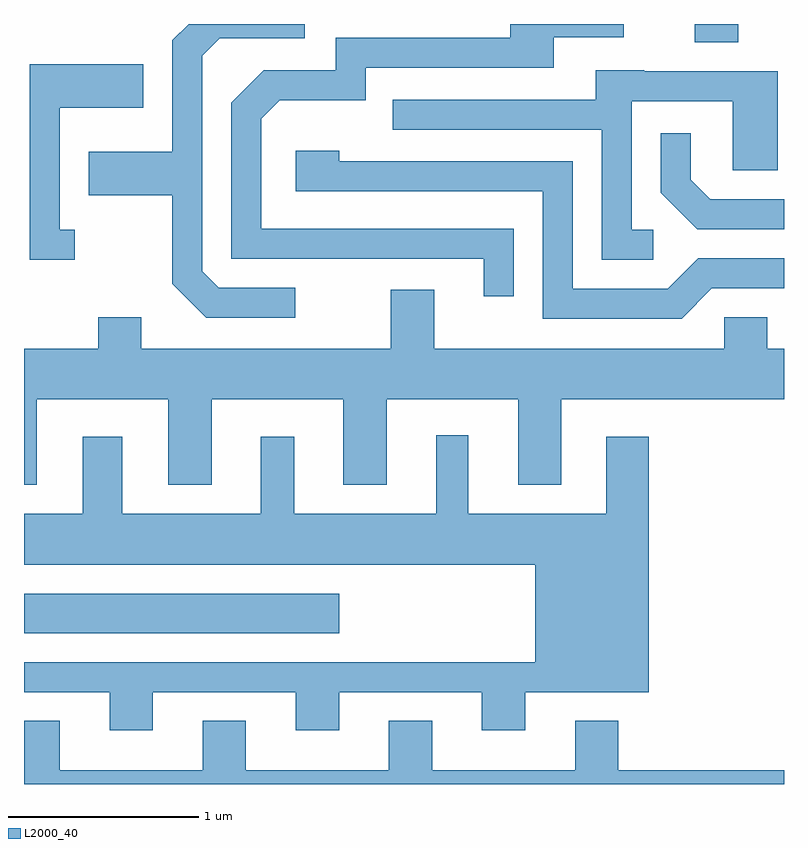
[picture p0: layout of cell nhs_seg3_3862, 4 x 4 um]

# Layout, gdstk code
import gdstk
lib = gdstk.Library(unit=1e-6, precision=1e-09)
def R(c, l, rs):  # rectangles x0, y0, x1, y1
    for r in rs: c.add(gdstk.rectangle(r[:2], r[2:], *l))
def P(c, l, *ps):  # polygons
    for p in ps: c.add(gdstk.Polygon(p, *l))
L2000_40 = (2000, 40)

nhs_seg3_3862 = lib.new_cell('nhs_seg3_3862')
R(nhs_seg3_3862, L2000_40, [(297.611,1224.686,299.269,1224.894), (301.141,1227.796,301.369,1227.892)])
P(nhs_seg3_3862, L2000_40, [(300.189,1226.814),(298.859,1226.814),(298.859,1227.394),(298.957,1227.491),(299.409,1227.491),(299.409,1227.661),(300.399,1227.661),(300.399,1227.821),(300.768,1227.821),(300.768,1227.892),(300.171,1227.892),(300.171,1227.819),(299.251,1227.819),(299.251,1227.649),(298.874,1227.649),(298.701,1227.477),(298.701,1226.656),(300.031,1226.656),(300.031,1226.458),(300.189,1226.458)],
  [(299.038,1226.504),(298.637,1226.504),(298.549,1226.592),(298.549,1227.724),(298.642,1227.816),(299.088,1227.816),(299.088,1227.892),(298.477,1227.892),(298.391,1227.807),(298.391,1227.219),(297.951,1227.219),(297.951,1226.991),(298.391,1226.991),(298.391,1226.524),(298.569,1226.346),(299.038,1226.346)],
  [(297.878,1226.809),(297.799,1226.809),(297.799,1227.451),(298.239,1227.451),(298.239,1227.679),(297.641,1227.679),(297.641,1226.651),(297.878,1226.651)],
  [(300.923,1226.809),(300.809,1226.809),(300.809,1227.486),(301.341,1227.486),(301.341,1227.121),(301.579,1227.121),(301.579,1227.644),(300.875,1227.644),(300.875,1227.649),(300.621,1227.649),(300.621,1227.494),(299.553,1227.494),(299.553,1227.336),(300.651,1227.336),(300.651,1226.651),(300.923,1226.651)],
  [(301.611,1226.969),(301.222,1226.969),(301.119,1227.072),(301.119,1227.318),(300.961,1227.318),(300.961,1227.004),(301.154,1226.811),(301.611,1226.811)],
  [(301.232,1226.501),(301.611,1226.501),(301.611,1226.659),(301.159,1226.659),(300.999,1226.499),(300.499,1226.499),(300.499,1227.169),(299.269,1227.169),(299.269,1227.224),(299.041,1227.224),(299.041,1227.011),(300.341,1227.011),(300.341,1226.341),(301.072,1226.341)],
  [(297.679,1225.916),(298.371,1225.916),(298.371,1225.466),(298.599,1225.466),(298.599,1225.916),(299.291,1225.916),(299.291,1225.466),(299.519,1225.466),(299.519,1225.916),(300.211,1225.916),(300.211,1225.466),(300.439,1225.466),(300.439,1225.916),(301.611,1225.916),(301.611,1226.184),(301.524,1226.184),(301.524,1226.349),(301.296,1226.349),(301.296,1226.184),(299.769,1226.184),(299.769,1226.494),(299.541,1226.494),(299.541,1226.184),(298.229,1226.184),(298.229,1226.349),(298.001,1226.349),(298.001,1226.184),(297.611,1226.184),(297.611,1225.466),(297.679,1225.466)],
  [(298.289,1224.376),(299.041,1224.376),(299.041,1224.176),(299.269,1224.176),(299.269,1224.376),(300.021,1224.376),(300.021,1224.176),(300.249,1224.176),(300.249,1224.376),(300.899,1224.376),(300.899,1225.719),(300.676,1225.719),(300.676,1225.314),(299.949,1225.314),(299.949,1225.728),(299.781,1225.728),(299.781,1225.314),(299.034,1225.314),(299.034,1225.719),(298.856,1225.719),(298.856,1225.314),(298.129,1225.314),(298.129,1225.719),(297.921,1225.719),(297.921,1225.314),(297.611,1225.314),(297.611,1225.046),(300.301,1225.046),(300.301,1224.534),(297.611,1224.534),(297.611,1224.376),(298.061,1224.376),(298.061,1224.176),(298.289,1224.176)],
  [(300.511,1224.224),(300.511,1223.964),(299.759,1223.964),(299.759,1224.224),(299.531,1224.224),(299.531,1223.964),(298.779,1223.964),(298.779,1224.224),(298.551,1224.224),(298.551,1223.964),(297.799,1223.964),(297.799,1224.224),(297.611,1224.224),(297.611,1223.892),(301.611,1223.892),(301.611,1223.964),(300.739,1223.964),(300.739,1224.224)])

lib.write_gds('nhs_seg3_3862.gds')
